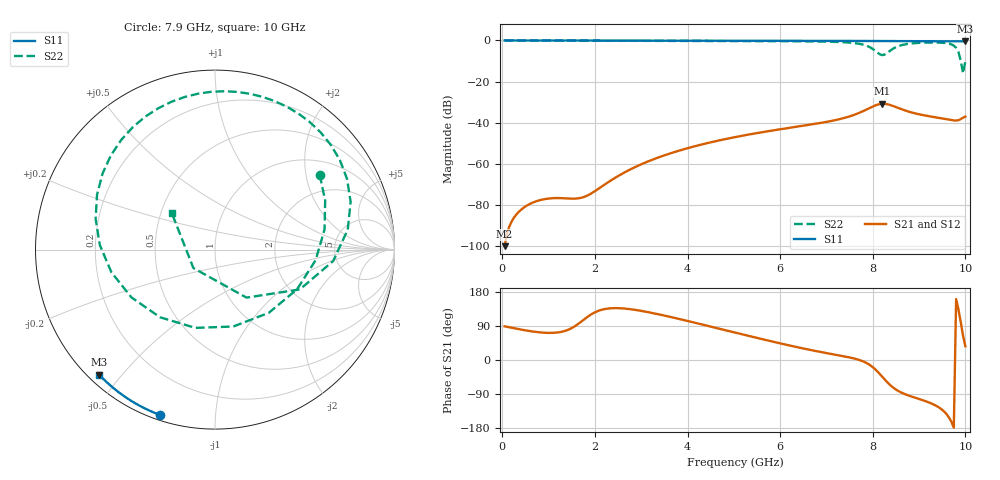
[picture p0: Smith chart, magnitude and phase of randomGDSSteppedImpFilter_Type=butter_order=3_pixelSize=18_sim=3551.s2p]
! freq	dB(S11)	phase(S11)	dB(S12)	phase(S12)
!  dB(S21)	phase(S21)	dB(S22)	phase(S22)
!S-par simulation data
#  GHz  S  DB  R 50
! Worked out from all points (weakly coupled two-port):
!   200 points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, 50 MHz to 10 GHz, reference 50 ohm
!   highest |S21| = -30.81 dB at 8.2 GHz (marker M1); lowest = -100.1 dB at 50 MHz (marker M2)
!   lowest |S11| = -0.4 dB at 10 GHz (marker M3), VSWR 39.40, Z = 1.51 - j21.8 ohm
!   |S11| at or under -10 dB: nowhere
!   |S22| runs from -16.0 to 0.0 dB; largest |S21 - S12| = 0
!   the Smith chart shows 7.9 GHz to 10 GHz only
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0.05  -0.00 -0.8  -100.10 88.8  -100.10 88.8  -0.00 -1.8
0.85  -0.02 -13.0  -77.50 72.5  -77.50 72.5  -0.04 -29.7
1.75  -0.03 -26.5  -76.26 105.5  -76.26 105.5  -0.07 -60.0
3.4  -0.07 -50.4  -56.69 119.9  -56.69 119.9  -0.14 -112.0
5.05  -0.11 -72.9  -46.93 71.7  -46.93 71.7  -0.23 -162.2
5.95  -0.15 -84.6  -43.40 45.3  -43.40 45.3  -0.32 167.7
6.7  -0.18 -94.0  -40.79 25.4  -40.79 25.4  -0.46 137.6
7.3  -0.22 -101.3  -38.20 11.5  -38.20 11.5  -0.78 104.5
7.65  -0.24 -105.5  -35.75 2.2  -35.75 2.2  -1.42 74.0
7.85  -0.25 -107.9  -33.77 -7.0  -33.77 -7.0  -2.45 45.3
8  -0.26 -109.7  -32.14 -18.9  -32.14 -18.9  -4.15 10.4
8.2  -0.28 -112.0  -30.81 -43.5  -30.81 -43.5  -7.12 -76.6
8.35  -0.29 -113.8  -31.23 -63.2  -31.23 -63.2  -5.41 -150.2
8.55  -0.30 -116.1  -32.85 -81.6  -32.85 -81.6  -2.80 155.1
8.75  -0.32 -118.4  -34.44 -92.7  -34.44 -92.7  -1.70 123.7
8.95  -0.34 -120.8  -35.67 -101.0  -35.67 -101.0  -1.24 101.2
9.4  -0.38 -125.9  -37.57 -123.0  -37.57 -123.0  -1.02 58.5
9.7  -0.41 -129.4  -38.73 -163.7  -38.73 -163.7  -1.93 19.4
9.8  -0.42 -130.5  -38.97 160.8  -38.97 160.8  -3.59 -5.5
9.9  -0.43 -131.6  -38.27 99.7  -38.27 99.7  -9.89 -56.7
9.95  -0.44 -132.2  -37.55 63.7  -37.55 63.7  -16.01 -139.5
10  -0.44 -132.8  -37.05 36.2  -37.05 36.2  -10.05 139.9
